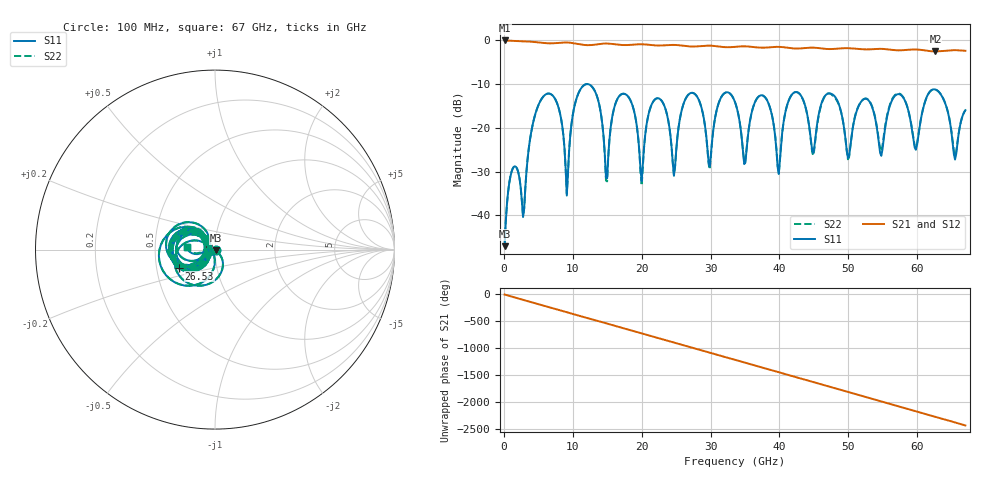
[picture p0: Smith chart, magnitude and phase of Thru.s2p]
! Touchstone file exported from HFSS 2021.2.0
!  File:  D:/20220920 new project/ISC_3rd_design/NewISC_3_with_imtiaz_dim_connector.aedt
!  Generated:  1:09:09 AM  Aug 03, 2023
!  Design:  Thru4
!  Project:  NewISC_3_with_imtiaz_dim_connector
!  Setup:  Setup2
!  Solution:  Sweep
! Variables:
!  $_L_pin_on = 0.01nH
!  $_R_pin_on = 1ohm
!  Con_T = 0.012mm
!  Con_W = 0.11534mm
!  DUT = 0mm
!  Gap = 0.71534mm
!  Gap_connector_vias = 1mm
!  Radius = 0.225mm
!  Space = 0.837mm
!  Sub_L = 9.5988mm
!  Sub_T = 0.05mm
!  Sub_W = 13.8408mm
!  Vias_N = 18
!  Vias_gap = 1.01162352941176mm
!  quater_wave_L = 1.2798mm
# GHz S RI R 50.000000
! Terminal data exported
! Port[1] = 1
! Port[2] = 2
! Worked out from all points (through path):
!   401 points, 100 MHz to 67 GHz, reference 50 ohm
!   highest |S21| = -0.04 dB at 100 MHz (marker M1); lowest = -2.5 dB at 62.65 GHz (marker M2)
!   group delay of S21, straight-line fit = 100 ps
!   lowest |S11| = -47.0 dB at 100 MHz (marker M3), VSWR 1.01, Z = 50.3 - j0.286 ohm
!   |S11| at or under -10 dB: start of sweep to 12.04 GHz; 12.16 GHz to end of sweep
!   |S22| runs from -46.7 to -10.0 dB; largest |S21 - S12| = 2.5e-14
!   S11 on the Smith chart (normalised r, x): 100 MHz: 1.01, -0.01; 26.53 GHz: 0.65, -0.14; 67 GHz: 0.73, +0.02
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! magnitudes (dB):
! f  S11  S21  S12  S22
! 100 MHz  -47.0  0.0  0.0  -46.7
! 5.285 GHz  -13.9  -0.5  -0.5  -13.9
! 9.132 GHz  -35.5  -0.5  -0.5  -35.1
! 11.31 GHz  -10.7  -1.0  -1.0  -10.7
! 14.99 GHz  -31.5  -0.7  -0.7  -32.2
! 16.82 GHz  -12.6  -1.1  -1.1  -12.6
! 20 GHz  -32.2  -0.9  -0.9  -33.2
! 22.51 GHz  -13.3  -1.2  -1.2  -13.3
! 24.69 GHz  -30.9  -1.1  -1.1  -30.9
! 26.53 GHz  -12.9  -1.3  -1.3  -12.9
! 29.87 GHz  -28.8  -1.2  -1.2  -29.5
! 33.72 GHz  -14.9  -1.5  -1.5  -14.9
! 35.06 GHz  -27.9  -1.4  -1.4  -27.5
! 37.9 GHz  -13.0  -1.7  -1.7  -13.0
! 39.91 GHz  -30.5  -1.5  -1.5  -30.4
! 42.58 GHz  -11.8  -1.9  -1.9  -11.9
! 44.76 GHz  -25.1  -1.7  -1.7  -25.6
! 55.96 GHz  -15.3  -2.1  -2.1  -15.1
! 59.81 GHz  -25.0  -2.1  -2.1  -24.6
! 62.65 GHz  -11.2  -2.5  -2.5  -11.3
! 65.49 GHz  -27.2  -2.3  -2.3  -26.4
! 67 GHz  -16.0  -2.4  -2.4  -16.0
